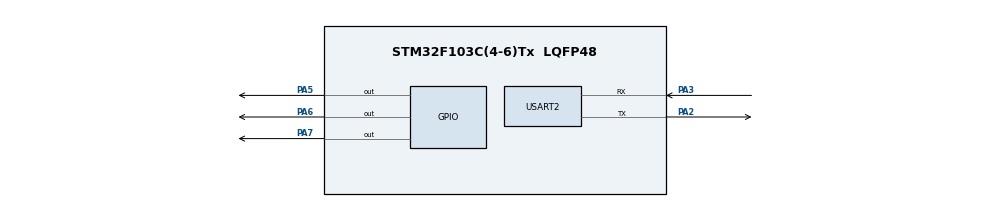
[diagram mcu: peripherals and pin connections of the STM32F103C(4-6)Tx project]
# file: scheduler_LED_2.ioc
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Mcu.Family=STM32F1
Mcu.Name=STM32F103C(4-6)Tx
Mcu.Package=LQFP48
NVIC.PriorityGroup=NVIC_PRIORITYGROUP_4
NVIC.TIM2_IRQn=true\:0\:0\:false\:false\:true\:true\:true
PA2.Mode=Asynchronous
PA2.Signal=USART2_TX
PA3.Mode=Asynchronous
PA3.Signal=USART2_RX
PA5.Signal=GPIO_Output
PA6.Signal=GPIO_Output
PA7.Signal=GPIO_Output
ProjectManager.HeapSize=0x200
ProjectManager.StackSize=0x400
ProjectManager.TargetToolchain=STM32CubeIDE
RCC.APB1Freq_Value=8000000
RCC.APB2Freq_Value=8000000
TIM2.Period=9
TIM2.Prescaler=7999
USART2.VirtualMode=VM_ASYNC
VP_SYS_VS_ND.Mode=No_Debug
VP_TIM2_VS_ClockSourceINT.Mode=Internal
board=custom

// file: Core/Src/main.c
/* USER CODE BEGIN Header */
/**
  ******************************************************************************
  * @file           : main.c
  * @brief          : Main program body
  ******************************************************************************
  * @attention
  *
  * <h2><center>&copy; Copyright (c) 2021 STMicroelectronics.
  * All rights reserved.</center></h2>
  *
  * This software component is licensed by ST under BSD 3-Clause license,
  * the "License"; You may not use this file except in compliance with the
  * License. You may obtain a copy of the License at:
  *                        opensource.org/licenses/BSD-3-Clause
  *
  ******************************************************************************
  */
/* USER CODE END Header */
#include "main.h"

/* USER CODE BEGIN Includes */
#include "Timer.h"
#include "ctrlTask.h"
#include "Task.h"
/* USER CODE END Includes */

TIM_HandleTypeDef htim2;

UART_HandleTypeDef huart2;

void SystemClock_Config(void);
static void MX_GPIO_Init(void);
static void MX_TIM2_Init(void);
static void MX_USART2_UART_Init(void);

/* USER CODE BEGIN 0 */
void Task1(void){
		/*display7SEG(value%10, GPIOB, GPIO_PIN_0, GPIO_PIN_1, GPIO_PIN_2, GPIO_PIN_3, GPIO_PIN_4, GPIO_PIN_5, GPIO_PIN_6);
		display7SEG(value/10, GPIOB, GPIO_PIN_7, GPIO_PIN_8, GPIO_PIN_9, GPIO_PIN_10, GPIO_PIN_11, GPIO_PIN_12, GPIO_PIN_13);
		value += 1;*/
	uint8_t word1[] = "Process 1, \r\n";
	HAL_UART_Transmit(&huart2, word1, sizeof(word1), 1000);
	HAL_GPIO_TogglePin(GPIOA, GPIO_PIN_5);
}
void Task2(void) {
	/*	display7SEG(value%10, GPIOB, GPIO_PIN_0, GPIO_PIN_1, GPIO_PIN_2, GPIO_PIN_3, GPIO_PIN_4, GPIO_PIN_5, GPIO_PIN_6);
		display7SEG(value/10, GPIOB, GPIO_PIN_7, GPIO_PIN_8, GPIO_PIN_9, GPIO_PIN_10, GPIO_PIN_11, GPIO_PIN_12, GPIO_PIN_13);
		value += 2;*/
	uint8_t word1[] = "Process 2,\r\n";
	HAL_UART_Transmit(&huart2, word1, sizeof(word1), 1000);
	HAL_GPIO_TogglePin(GPIOA, GPIO_PIN_6);
}
void Task3(void){
		/*display7SEG(value%10, GPIOB, GPIO_PIN_0, GPIO_PIN_1, GPIO_PIN_2, GPIO_PIN_3, GPIO_PIN_4, GPIO_PIN_5, GPIO_PIN_6);
		display7SEG(value/10, GPIOB, GPIO_PIN_7, GPIO_PIN_8, GPIO_PIN_9, GPIO_PIN_10, GPIO_PIN_11, GPIO_PIN_12, GPIO_PIN_13);
		value += 1;*/
	uint8_t word1[] = "Process 3,\r\n";
	HAL_UART_Transmit(&huart2, word1, sizeof(word1), 1000);
	HAL_GPIO_TogglePin(GPIOA, GPIO_PIN_7);
}
/* USER CODE END 0 */

int main(void)
{

  /* MCU Configuration--------------------------------------------------------*/

  /* Reset of all peripherals, Initializes the Flash interface and the Systick. */
  HAL_Init();

  /* Configure the system clock */
  SystemClock_Config();

  /* Initialize all configured peripherals */
  MX_GPIO_Init();
  MX_TIM2_Init();
  MX_USART2_UART_Init();
  /* USER CODE BEGIN 2 */
  SCH_Init();
  //HAL_GPIO_WritePin(GPIOA, GPIO_PIN_6, SET);
  SCH_Add_Task(Task2, 0, 500);
  SCH_Add_Task(Task1, 700, 1000);
  SCH_Add_Task(Task3,1000,1000);
  //SCH_Sort();
  uint8_t word1[] = "Hello\r\n";
  HAL_UART_Transmit(&huart2, word1, sizeof(word1), 1000);
  HAL_TIM_Base_Start_IT (&htim2) ;
  /* USER CODE END 2 */

  /* Infinite loop */
  /* USER CODE BEGIN WHILE */
  while (1)
  {
	  //HAL_GPIO_WritePin(GPIOA, GPIO_PIN_6, SET);
	  SCH_Dispatch_Tasks();
    /* USER CODE END WHILE */

  }
}

void SystemClock_Config(void)
{
  RCC_OscInitTypeDef RCC_OscInitStruct = {0};
  RCC_ClkInitTypeDef RCC_ClkInitStruct = {0};

  /** Initializes the RCC Oscillators according to the specified parameters
  * in the RCC_OscInitTypeDef structure.
  */
  RCC_OscInitStruct.OscillatorType = RCC_OSCILLATORTYPE_HSI;
  RCC_OscInitStruct.HSIState = RCC_HSI_ON;
  RCC_OscInitStruct.HSICalibrationValue = RCC_HSICALIBRATION_DEFAULT;
  RCC_OscInitStruct.PLL.PLLState = RCC_PLL_NONE;
  if (HAL_RCC_OscConfig(&RCC_OscInitStruct) != HAL_OK)
  {
    Error_Handler();
  }
  /** Initializes the CPU, AHB and APB buses clocks
  */
  RCC_ClkInitStruct.ClockType = RCC_CLOCKTYPE_HCLK|RCC_CLOCKTYPE_SYSCLK
                              |RCC_CLOCKTYPE_PCLK1|RCC_CLOCKTYPE_PCLK2;
  RCC_ClkInitStruct.SYSCLKSource = RCC_SYSCLKSOURCE_HSI;
  RCC_ClkInitStruct.AHBCLKDivider = RCC_SYSCLK_DIV1;
  RCC_ClkInitStruct.APB1CLKDivider = RCC_HCLK_DIV1;
  RCC_ClkInitStruct.APB2CLKDivider = RCC_HCLK_DIV1;

  if (HAL_RCC_ClockConfig(&RCC_ClkInitStruct, FLASH_LATENCY_0) != HAL_OK)
  {
    Error_Handler();
  }
}

static void MX_TIM2_Init(void)
{

  TIM_ClockConfigTypeDef sClockSourceConfig = {0};
  TIM_MasterConfigTypeDef sMasterConfig = {0};

  htim2.Instance = TIM2;
  htim2.Init.Prescaler = 7999;
  htim2.Init.CounterMode = TIM_COUNTERMODE_UP;
  htim2.Init.Period = 9;
  htim2.Init.ClockDivision = TIM_CLOCKDIVISION_DIV1;
  htim2.Init.AutoReloadPreload = TIM_AUTORELOAD_PRELOAD_DISABLE;
  if (HAL_TIM_Base_Init(&htim2) != HAL_OK)
  {
    Error_Handler();
  }
  sClockSourceConfig.ClockSource = TIM_CLOCKSOURCE_INTERNAL;
  if (HAL_TIM_ConfigClockSource(&htim2, &sClockSourceConfig) != HAL_OK)
  {
    Error_Handler();
  }
  sMasterConfig.MasterOutputTrigger = TIM_TRGO_RESET;
  sMasterConfig.MasterSlaveMode = TIM_MASTERSLAVEMODE_DISABLE;
  if (HAL_TIMEx_MasterConfigSynchronization(&htim2, &sMasterConfig) != HAL_OK)
  {
    Error_Handler();
  }

}

static void MX_USART2_UART_Init(void)
{

  huart2.Instance = USART2;
  huart2.Init.BaudRate = 115200;
  huart2.Init.WordLength = UART_WORDLENGTH_8B;
  huart2.Init.StopBits = UART_STOPBITS_1;
  huart2.Init.Parity = UART_PARITY_NONE;
  huart2.Init.Mode = UART_MODE_TX_RX;
  huart2.Init.HwFlowCtl = UART_HWCONTROL_NONE;
  huart2.Init.OverSampling = UART_OVERSAMPLING_16;
  if (HAL_UART_Init(&huart2) != HAL_OK)
  {
    Error_Handler();
  }

}

static void MX_GPIO_Init(void)
{
  GPIO_InitTypeDef GPIO_InitStruct = {0};

  /* GPIO Ports Clock Enable */
  __HAL_RCC_GPIOA_CLK_ENABLE();

  /*Configure GPIO pin Output Level */
  HAL_GPIO_WritePin(GPIOA, GPIO_PIN_5|GPIO_PIN_6|GPIO_PIN_7, GPIO_PIN_RESET);

  /*Configure GPIO pins : PA5 PA6 PA7 */
  GPIO_InitStruct.Pin = GPIO_PIN_5|GPIO_PIN_6|GPIO_PIN_7;
  GPIO_InitStruct.Mode = GPIO_MODE_OUTPUT_PP;
  GPIO_InitStruct.Pull = GPIO_NOPULL;
  GPIO_InitStruct.Speed = GPIO_SPEED_FREQ_LOW;
  HAL_GPIO_Init(GPIOA, &GPIO_InitStruct);

}

void Error_Handler(void)
{
  __disable_irq();
  while (1)
  {
  }
}

/************************ (C) COPYRIGHT STMicroelectronics *****END OF FILE****/
